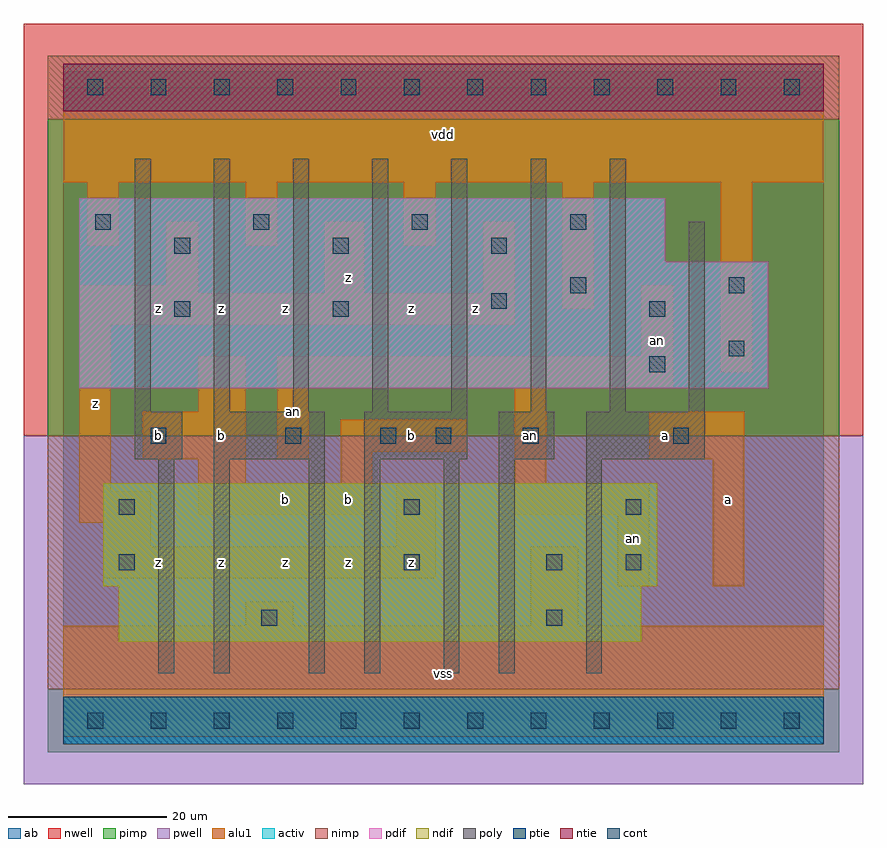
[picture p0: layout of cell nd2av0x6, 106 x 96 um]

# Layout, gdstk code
import gdstk
lib = gdstk.Library(unit=1e-6, precision=1e-09)
def R(c, l, rs):  # rectangles x0, y0, x1, y1
    for r in rs: c.add(gdstk.rectangle(r[:2], r[2:], *l))
def A(c, l, x, y, w, h, nx, ny, dx, dy):  # array of equal rectangles
    R(c, l, [(x+i*dx, y+j*dy, x+i*dx+w, y+j*dy+h) for i in range(nx) for j in range(ny)])
ndif = (3, 0)
pdif = (4, 0)
ntie = (5, 0)
ptie = (6, 0)
cont = (25, 0)
pwell = (41, 0)
nwell = (42, 0)
activ = (43, 0)
pimp = (44, 0)
nimp = (45, 0)
poly = (46, 0)
alu1 = (49, 0)
ab = (63, 0)

nd2av0x6 = lib.new_cell('nd2av0x6')
R(nd2av0x6, ndif, [(7,10,73,17), (5,17,75,30)])
R(nd2av0x6, pdif, [(2,42,89,58), (2,58,76,66)])
R(nd2av0x6, ntie, [(0,77,96,83)])
R(nd2av0x6, ptie, [(0,-3,96,3)])
A(nd2av0x6, cont, 3, -1, 2, 2, 12, 2, 8, 80)
A(nd2av0x6, cont, 14, 59, 2, 2, 3, 1, 20, 0)
A(nd2av0x6, cont, 4, 62, 2, 2, 4, 1, 20, 0)
R(nd2av0x6, cont, [(25,12,27,14), (61,12,63,14), (7,19,9,21), (43,19,45,21), (61,19,63,21), (71,19,73,21), (7,26,9,28), (43,26,45,28), (71,26,73,28), (11,35,13,37), (28,35,30,37), (40,35,42,37), (47,35,49,37), (58,35,60,37), (77,35,79,37), (74,44,76,46), (84,46,86,48), (14,51,16,53), (34,51,36,53), (74,51,76,53), (54,52,56,54), (64,54,66,56), (84,54,86,56)])
R(nd2av0x6, pwell, [(-5,-8,101,36)])
R(nd2av0x6, nwell, [(-5,36,101,88)])
R(nd2av0x6, activ, [(0,-3,96,3), (7,10,73,17), (5,17,75,30), (2,42,89,58), (2,58,76,66), (0,77,96,83)])
R(nd2av0x6, pimp, [(-2,-4,98,4), (-2,36,98,76)])
R(nd2av0x6, nimp, [(-2,4,98,36), (-2,76,98,84)])
A(nd2av0x6, poly, 9, 39, 2, 32, 7, 1, 10, 0)
R(nd2av0x6, poly, [(12,6,14,33), (19,6,21,33), (31,6,33,33), (38,6,40,33), (48,6,50,33), (55,6,57,33), (66,6,68,33), (9,33,15,39), (19,33,33,39), (38,33,51,39), (55,33,62,39), (66,33,81,39), (79,39,81,63)])
A(nd2av0x6, alu1, 3, 60, 4, 8, 3, 1, 20, 0)
R(nd2av0x6, alu1, [(0,-2,96,12), (23,12,29,15), (59,12,65,22), (70,17,74,26), (82,17,86,33), (5,18,47,22), (5,22,11,25), (42,22,47,30), (2,25,11,29), (17,26,39,30), (57,26,74,30), (2,29,6,50), (17,30,23,33), (35,30,39,34), (57,30,61,42), (10,33,23,39), (27,33,31,42), (74,33,86,39), (35,34,51,38), (17,39,23,46), (27,42,77,46), (83,44,87,68), (73,46,77,55), (2,50,57,54), (63,52,67,68), (2,54,17,55), (33,54,38,63), (53,54,57,63), (13,55,17,63), (0,68,96,82)])
R(nd2av0x6, ab, [(0,0,96,80)])
nd2av0x6.add(gdstk.Label('an', (29,39), layer=49, texttype=0))
nd2av0x6.add(gdstk.Label('an', (59,36), layer=49, texttype=0))
nd2av0x6.add(gdstk.Label('an', (72,23), layer=49, texttype=0))
nd2av0x6.add(gdstk.Label('an', (75,48), layer=49, texttype=0))
nd2av0x6.add(gdstk.Label('z', (12,20), layer=49, texttype=0))
nd2av0x6.add(gdstk.Label('z', (20,20), layer=49, texttype=0))
nd2av0x6.add(gdstk.Label('b', (20,36), layer=49, texttype=0))
nd2av0x6.add(gdstk.Label('b', (12,36), layer=49, texttype=0))
nd2av0x6.add(gdstk.Label('z', (4,40), layer=49, texttype=0))
nd2av0x6.add(gdstk.Label('z', (20,52), layer=49, texttype=0))
nd2av0x6.add(gdstk.Label('z', (12,52), layer=49, texttype=0))
nd2av0x6.add(gdstk.Label('z', (28,20), layer=49, texttype=0))
nd2av0x6.add(gdstk.Label('z', (36,20), layer=49, texttype=0))
nd2av0x6.add(gdstk.Label('z', (44,20), layer=49, texttype=0))
nd2av0x6.add(gdstk.Label('b', (44,36), layer=49, texttype=0))
nd2av0x6.add(gdstk.Label('b', (36,28), layer=49, texttype=0))
nd2av0x6.add(gdstk.Label('b', (28,28), layer=49, texttype=0))
nd2av0x6.add(gdstk.Label('z', (36,56), layer=49, texttype=0))
nd2av0x6.add(gdstk.Label('z', (44,52), layer=49, texttype=0))
nd2av0x6.add(gdstk.Label('z', (28,52), layer=49, texttype=0))
nd2av0x6.add(gdstk.Label('vss', (48,6), layer=49, texttype=0))
nd2av0x6.add(gdstk.Label('z', (52,52), layer=49, texttype=0))
nd2av0x6.add(gdstk.Label('vdd', (48,74), layer=49, texttype=0))
nd2av0x6.add(gdstk.Label('a', (76,36), layer=49, texttype=0))
nd2av0x6.add(gdstk.Label('a', (84,28), layer=49, texttype=0))

lib.write_gds('nd2av0x6.gds')
